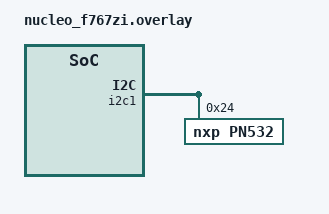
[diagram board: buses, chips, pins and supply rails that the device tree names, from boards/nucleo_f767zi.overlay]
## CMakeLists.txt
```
# Copyright (c) 2025 Bayrem Gharsellaoui
# SPDX-License-Identifier: Apache-2.0

cmake_minimum_required(VERSION 3.20.0)
find_package(Zephyr REQUIRED HINTS $ENV{ZEPHYR_BASE})
project(app)

target_sources(app PRIVATE
  src/main.c
)
```

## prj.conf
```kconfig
# Copyright (c) 2025 Bayrem Gharsellaoui
# SPDX-License-Identifier: Apache-2.0

# Logging
CONFIG_LOG=y
CONFIG_LOG_MODE_IMMEDIATE=y

# PN532 NFC module
CONFIG_I2C=y
CONFIG_PN532=y
CONFIG_PN532_LOG_LEVEL=4
```

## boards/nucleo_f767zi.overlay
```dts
&i2c1 {
    status = "okay";
    pn532: pn532@24 {
        compatible = "nxp,pn532";
        reg = <0x24>;
        status = "okay";
    };
};
```

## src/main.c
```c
/*
 * Copyright (c) 2025 Bayrem Gharsellaoui
 * SPDX-License-Identifier: Apache-2.0
 */

#include <stdlib.h>
#include <stdbool.h>

#include <zephyr/kernel.h>
#include <zephyr/device.h>
#include <zephyr/logging/log.h>
LOG_MODULE_REGISTER(main);

#include "pn532.h"

/**
  * @brief  Program entry point
  * @param  None
  * @retval None
  */
int main(void)
{
    const struct device *dev = DEVICE_DT_GET_ONE(nxp_pn532);
    uint32_t version = 0;

    if (!device_is_ready(dev)) {
        LOG_INF("PN532 device not ready");
        return;
    }

    if (pn532_get_firmware_version(dev, &version) == 0) {
        LOG_INF("PN532 Firmware Version: %02X.%02X", (version >> 8) & 0xFF, version & 0xFF);
    } else {
        LOG_ERR("Failed to get PN532 firmware version");
    }

    while (true) {
        k_msleep(500);
    }

    return EXIT_FAILURE;
}
```
